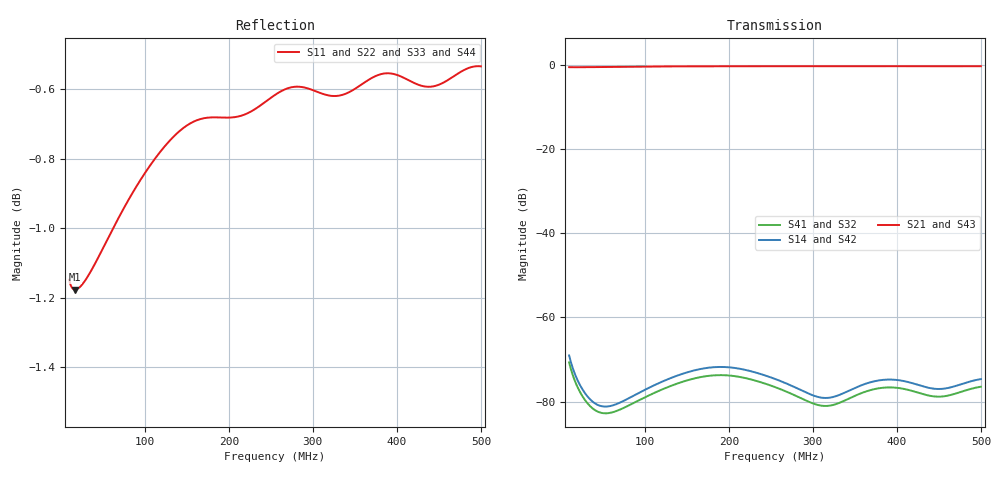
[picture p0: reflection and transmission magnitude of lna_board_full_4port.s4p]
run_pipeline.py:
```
#!/usr/bin/env python3
# -*- coding: utf-8 -*-
"""
run_pipeline.py: Master End-to-End Orchestrator for 98 MHz FM LNA
Workflow: KiCad -> FreeCAD -> FreeCAD-Microwave -> Qucs-S

Usage:
  python run_pipeline.py            # Runs verification, FreeCAD model build, Qucs co-sim, and plotting
  python run_pipeline.py --solve-em # Also runs the full-wave 3D FDTD EM solver via FreeCAD-Microwave
"""

import sys
import os
import subprocess
import argparse
import time

REPO_DIR = os.path.dirname(os.path.abspath(__file__))
FREECAD_PYTHON = r"D:\Programs\FreeCAD\bin\python.exe"
KICAD_PYTHON = r"D:\Programs\KiCad\bin\python.exe"
QUCSATOR = r"D:\Programs\Qucs-S\bin\qucsator_rf.exe"

def run_step(title, cmd, cwd=REPO_DIR):
    print("\n" + "=" * 75)
    print(f"  [STEP] {title}")
    print("=" * 75)
    t0 = time.time()
    res = subprocess.run(cmd, cwd=cwd, text=True, capture_output=True)
    dt = time.time() - t0
    if res.stdout:
        print(res.stdout.strip())
    if res.returncode != 0:
        if res.stderr:
            print("[STDERR]", res.stderr.strip())
        print(f"\n[FAILED] Step failed with return code {res.returncode} ({dt:.1f}s)")
        sys.exit(res.returncode)
    else:
        print(f"\n[SUCCESS] Completed in {dt:.1f}s")

def main():
    parser = argparse.ArgumentParser(description="End-to-End KiCad -> FreeCAD -> FreeCAD-Microwave -> Qucs-S Pipeline")
    parser.add_argument("--solve-em", action="store_true", help="Run full 3D FDTD EM solve via FreeCAD-Microwave (~25 min)")
    args = parser.parse_args()

    print("*" * 75)
    print("  98 MHz FM Low-Noise Amplifier (LNA)")
    print("  Complete Multi-Physics Toolchain Orchestrator")
    print("  KiCad -> FreeCAD -> FreeCAD-Microwave -> Qucs-S")
    print("*" * 75)

    # 1. KiCad Verification
    kicad_pcb = os.path.join(REPO_DIR, "kicad", "lna_fm_98mhz.kicad_pcb")
    if os.path.exists(kicad_pcb):
        print(f"[KiCad PCB]: Found {kicad_pcb} ({os.path.getsize(kicad_pcb)} bytes)")
    else:
        print(f"[ERROR]: KiCad PCB not found at {kicad_pcb}")
        sys.exit(1)

    # 2. FreeCAD 3D Microwave Workbench Model Build
    run_step(
        "Build Native FreeCAD-Microwave Model (.FCStd)",
        [FREECAD_PYTHON, os.path.join("freecad", "build_freecad_microwave_model.py")]
    )

    # 3. FreeCAD-Microwave Full-Board EM Solve (if requested or missing)
    s4p_file = os.path.join(REPO_DIR, "qucs-sim", "lna_board_full_4port.s4p")
    if args.solve_em or not os.path.exists(s4p_file):
        run_step(
            "Solve 4-Port Board EM via FreeCAD-Microwave / openEMS",
            [FREECAD_PYTHON, os.path.join("freecad", "run_full_board_freecad_em.py")]
        )
    else:
        print("\n" + "=" * 75)
        print("  [STEP] FreeCAD-Microwave 4-Port EM Touchstone (.s4p)")
        print("=" * 75)
        print(f"  Found existing Touchstone model: {s4p_file} ({os.path.getsize(s4p_file)} bytes)")
        print("  (Use '--solve-em' to re-run the full 3D FDTD solver)")

    # 4. Qucs-S Active Circuit Co-Simulation
    run_step(
        "Run Active Circuit Co-Simulation in Qucs-S",
        [FREECAD_PYTHON, os.path.join("qucs-sim", "run_full_board_cosim.py")]
    )

    # 5. Plot Comparison & Performance Curves
    run_step(
        "Generate Co-Simulation Comparison Plots",
        [FREECAD_PYTHON, os.path.join("qucs-sim", "plot_full_board_cosim_results.py")]
    )
    run_step(
        "Generate Smith Chart & S-Parameter Curves",
        [FREECAD_PYTHON, os.path.join("qucs-sim", "plot_smith_and_cartesian.py")]
    )

    print("\n" + "*" * 75)
    print("  ALL PIPELINE STEPS COMPLETED SUCCESSFULLY!")
    print(f"  - FreeCAD Model  : freecad/lna_fm_98mhz_microwave.FCStd")
    print(f"  - Touchstone S4P : freecad/lna_board_full_4port.s4p")
    print(f"  - Qucs-S Co-Sim  : qucs-sim/lna_fm_98mhz_full_board_cosim.dat")
    print(f"  - Plots Rendered : renders/lna_full_board_cosim_results.png")
    print(f"                   : renders/final_qucs_cosim_s_params_and_smith.png")
    print("*" * 75)

if __name__ == "__main__":
    main()
```
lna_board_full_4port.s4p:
! Created with skrf 2.1.0 (http://scikit-rf.org).
# Hz S RI R 50.0
!freq ReS11 ImS11 ReS12 ImS12 ReS13 ImS13
! ReS14 ImS14
! ReS21 ImS21 ReS22 ImS22 ReS23 ImS23
! ReS24 ImS24
! ReS31 ImS31 ReS32 ImS32 ReS33 ImS33
! ReS34 ImS34
! ReS41 ImS41 ReS42 ImS42 ReS43 ImS43
! ReS44 ImS44
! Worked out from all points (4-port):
!   491 points, 10 MHz to 500 MHz, reference 50 ohm
!   strongest paths, dB at 10 MHz, 132 MHz, 255 MHz, 378 MHz, 500 MHz:
!     S21: -0.6, -0.4, -0.3, -0.3, -0.3
!     S43: -0.7, -0.5, -0.4, -0.4, -0.4
!     S14: -69.0, -74.3, -74.6, -75.0, -74.7
!     S42: -69.8, -74.4, -74.6, -75.1, -74.7
!     S41: -70.7, -76.2, -76.6, -76.9, -76.5
!     S32: -70.4, -76.1, -76.6, -76.8, -76.7
!   lowest |S11| = -1.2 dB at 17 MHz (marker M1), VSWR 14.78, Z = 726 + j97.6 ohm
!   |S11| at or under -10 dB: nowhere
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1e7  0.8758 0.026  0.9378 0.0134  -0.000154 -0.00026  -0.000183 -0.000302
     0.9378 0.0134  0.8758 0.026  -0.000154 -0.00026  -0.000175 -0.000273
     -0.000154 -0.00026  -0.000154 -0.00026  0.8452 0.0316  0.9223 0.0163
     -0.000155 -0.000247  -0.000175 -0.000273  0.9223 0.0163  0.8452 0.0316
1.7e7  0.8731 0.0159  0.9363 0.00805  -0.000108 -0.000143  -0.00013 -0.000166
       0.9363 0.00805  0.8731 0.0159  -0.000108 -0.000143  -0.000127 -0.000149
       -0.000108 -0.000143  -0.000108 -0.000143  0.8421 0.0194  0.9206 0.00987
       -0.00011 -0.000135  -0.000127 -0.000149  0.9206 0.00987  0.8421 0.0194
5e8  0.8627 -0.3744  0.9444 -0.1864  0.000127 7.37e-05  0.000164 8.44e-05
     0.9444 -0.1864  0.8627 -0.3744  0.000127 7.37e-05  0.000166 8.2e-05
     0.000127 7.37e-05  0.000127 7.37e-05  0.8052 -0.4587  0.9235 -0.2328
     0.00013 7.53e-05  0.000166 8.2e-05  0.9235 -0.2328  0.8052 -0.4587
